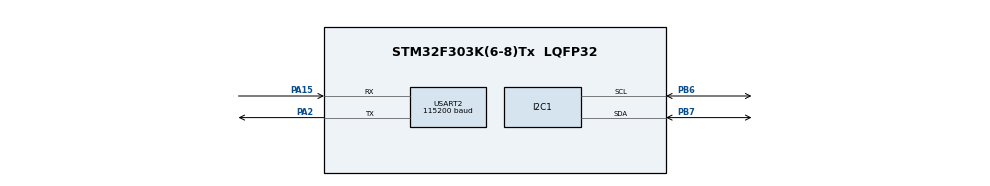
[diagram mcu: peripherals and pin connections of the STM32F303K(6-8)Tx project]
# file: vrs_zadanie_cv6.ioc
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Dma.Request0=USART2_RX
Dma.Request1=USART2_TX
Dma.USART2_RX.0.Direction=DMA_PERIPH_TO_MEMORY
Dma.USART2_RX.0.Instance=DMA1_Channel6
Dma.USART2_RX.0.MemDataAlignment=DMA_MDATAALIGN_BYTE
Dma.USART2_RX.0.MemInc=DMA_MINC_ENABLE
Dma.USART2_RX.0.Mode=DMA_CIRCULAR
Dma.USART2_RX.0.PeriphDataAlignment=DMA_PDATAALIGN_BYTE
Dma.USART2_RX.0.PeriphInc=DMA_PINC_DISABLE
Dma.USART2_RX.0.Priority=DMA_PRIORITY_LOW
Dma.USART2_TX.1.Direction=DMA_MEMORY_TO_PERIPH
Dma.USART2_TX.1.Instance=DMA1_Channel7
Dma.USART2_TX.1.MemDataAlignment=DMA_MDATAALIGN_BYTE
Dma.USART2_TX.1.MemInc=DMA_MINC_ENABLE
Dma.USART2_TX.1.Mode=DMA_NORMAL
Dma.USART2_TX.1.PeriphDataAlignment=DMA_PDATAALIGN_BYTE
Dma.USART2_TX.1.PeriphInc=DMA_PINC_DISABLE
Dma.USART2_TX.1.Priority=DMA_PRIORITY_LOW
I2C1.OwnAddress=1
Mcu.Family=STM32F3
Mcu.Name=STM32F303K(6-8)Tx
Mcu.Package=LQFP32
NVIC.DMA1_Channel6_IRQn=true\:0\:0\:false\:false\:true\:false\:true\:true
NVIC.DMA1_Channel7_IRQn=true\:0\:0\:false\:false\:true\:false\:true\:true
NVIC.I2C1_EV_IRQn=true\:0\:0\:false\:false\:true\:true\:true\:true
NVIC.PriorityGroup=NVIC_PRIORITYGROUP_4
NVIC.USART2_IRQn=true\:0\:0\:false\:false\:true\:true\:true\:true
PA15.Mode=Asynchronous
PA15.Signal=USART2_RX
PA2.Mode=Asynchronous
PA2.Signal=USART2_TX
PB6.Mode=I2C
PB6.Signal=I2C1_SCL
PB7.Mode=I2C
PB7.Signal=I2C1_SDA
ProjectManager.HeapSize=0x200
ProjectManager.StackSize=0x400
ProjectManager.TargetToolchain=STM32CubeIDE
RCC.AHBFreq_Value=8000000
RCC.APB1Freq_Value=8000000
RCC.APB2Freq_Value=8000000
RCC.CortexFreq_Value=8000000
RCC.HSE_VALUE=8000000
RCC.HSI_VALUE=8000000
RCC.SYSCLKFreq_VALUE=8000000
USART2.BaudRate=115200
USART2.VirtualMode-Asynchronous=VM_ASYNC
board=custom

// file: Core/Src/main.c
/* USER CODE BEGIN Header */
/**
  ******************************************************************************
  * @file           : main.c
  * @brief          : Main program body
  ******************************************************************************
  * @attention
  *
  * Copyright (c) 2023 STMicroelectronics.
  * All rights reserved.
  *
  * This software is licensed under terms that can be found in the LICENSE file
  * in the root directory of this software component.
  * If no LICENSE file comes with this software, it is provided AS-IS.
  *
  ******************************************************************************
  */
/* USER CODE END Header */
#include "main.h"
#include "dma.h"
#include "i2c.h"
#include "usart.h"
#include "gpio.h"

/* USER CODE BEGIN Includes */
#include "HTS221/hts221.h"
#include "LPS22HB/lps22hb.h"
#include <stdio.h>
#include <math.h>
/* USER CODE END Includes */

void SystemClock_Config(void);
/* USER CODE BEGIN PFP */
float height(float t, float h, float p);
/* USER CODE END PFP */

/* USER CODE BEGIN 0 */

// support printf
int __io_putchar (int ch)
{
  while (!LL_USART_IsActiveFlag_TXE(USART2));
  LL_USART_TransmitData8(USART2, (char)ch);
  return ch;
}

/* USER CODE END 0 */

int main(void)
{

  /* MCU Configuration--------------------------------------------------------*/

  /* Reset of all peripherals, Initializes the Flash interface and the Systick. */
  LL_APB2_GRP1_EnableClock(LL_APB2_GRP1_PERIPH_SYSCFG);
  LL_APB1_GRP1_EnableClock(LL_APB1_GRP1_PERIPH_PWR);

  /* System interrupt init*/
  NVIC_SetPriorityGrouping(NVIC_PRIORITYGROUP_4);

  /* SysTick_IRQn interrupt configuration */
  NVIC_SetPriority(SysTick_IRQn, NVIC_EncodePriority(NVIC_GetPriorityGrouping(),15, 0));

  /* Configure the system clock */
  SystemClock_Config();

  /* Initialize all configured peripherals */
  MX_GPIO_Init();
  MX_DMA_Init();
  MX_I2C1_Init();
  MX_USART2_UART_Init();

  /* USER CODE BEGIN 2 */

  struct hts221_init_config hts221_config;
  hts221_config.hts221_read_data  = i2c_read_data;
  hts221_config.hts221_write_data = i2c_write_data;
  hts221_config.hts221_read_byte  = i2c_read_byte;
  hts221_config.hts221_write_byte = i2c_write_byte;

  hts221_config.avconf = HTS221_AVGT16 | HTS221_AVGH32;
  hts221_config.ctrl1  = HTS221_CTRL1_POWER_UP              |
		                 HTS221_CTRL1_BDU_CONTINUOUS_UPDATE |
				         HTS221_CTRL1_OUTPUT_RATE_7HZ;
  hts221_config.ctrl2  = HTS221_CTRL2_BOOT_NORMAL    |
		                 HTS221_CTRL2_HEATER_DISABLE |
						 HTS221_CTRL2_ONESHOT_WAIT;
  hts221_config.ctrl3  = HTS221_CTRL3_DRDY_H   |
		                 HTS221_CTRL3_PUSHPULL |
						 HTS221_CTRL3_DRDY_DISABLE;

  int hts221_result = hts221_init(hts221_config);

  struct lps22hb_init_config lps22hb_config;
  lps22hb_config.lps22hb_read_data  = i2c_read_data;
  lps22hb_config.lps22hb_write_data = i2c_write_data;
  lps22hb_config.lps22hb_read_byte  = i2c_read_byte;
  lps22hb_config.lps22hb_write_byte = i2c_write_byte;

  lps22hb_config.interrupt_cfg = 0;
  lps22hb_config.ths_p         = 0;
  lps22hb_config.ctrl1         = LPS22HB_CTRL1_ODR_10HZ              |
                                 LPS22HB_CTRL1_LPFP_DISABLE          |
								 LPS22HB_CTRL1_LPFP_CFG_DISABLE      |
								 LPS22HB_CTRL1_BDU_CONTINUOUS_UPDATE |
								 LPS22HB_CTRL1_SPI_4WIRE;
  lps22hb_config.ctrl2         = LPS22HB_CTRL2_BOOT_NORMAL            |
                                 LPS22HB_CTRL2_FIFO_DISABLE           |
								 LPS22HB_CTRL2_FIFO_WATERMARK_DISABLE |
								 LPS22HB_CTRL2_FIFO_ADD_INC_ENABLE    |
								 LPS22HB_CTRL2_I2C_ENABLE             |
								 LPS22HB_CTRL2_SWRESET_NORMAL         |
								 LPS22HB_CTRL2_ONESHOT_IDLE;
  lps22hb_config.ctrl3         = 0;
  lps22hb_config.fifo_ctrl     = 0;
  lps22hb_config.ref_p         = 0;
  lps22hb_config.rpds          = 0;
  lps22hb_config.res_conf      = 0;

  int lps22hb_result = lps22hb_init(lps22hb_config);

  i2c_write_byte(LPS22HB_DEVICE, 0x10U, 0x20);
  i2c_write_byte(LPS22HB_DEVICE, 0x14U, 0x40);

  /* USER CODE END 2 */

  /* Infinite loop */
  /* USER CODE BEGIN WHILE */
  while (1)
  {
	  if (hts221_result != HTS221_ERROR_NONE)
		  printf("error: hts221_init! code: %i\n\r", hts221_result);

	  if (lps22hb_result != HTS221_ERROR_NONE)
		  printf("error: lps22hb_init! code: %i\n\r", lps22hb_result);

	  float temp = hts221_temperature();
	  float humidity = hts221_humidity();

	  //if (i2c_read_byte(LPS22HB_DEVICE, LPS22HB_WHO_AM_I) == LPS22HB_WHO_AM_I_VALUE)
	//	  printf("OK: %i (%i)\n\r", i2c_read_byte(LPS22HB_DEVICE, 0x10U), 0x20);
	 // else
	//	  printf("NOT OK\n\r");

	  uint8_t press_out_xl = i2c_read_byte(LPS22HB_DEVICE, 0x28U);
	  uint8_t press_out_l  = i2c_read_byte(LPS22HB_DEVICE, 0x29U);
	  uint8_t press_out_h  = i2c_read_byte(LPS22HB_DEVICE, 0x2AU);
	  uint32_t press = (press_out_h << 16) | (press_out_l << 8) | press_out_xl;
	  //press /= 4096;

	  //printf("pressure: %li (%li): %i %i %i\n\r", press, press / 4096, press_out_xl, press_out_l, press_out_h);
	  printf("teplota [°C]: %2.1f rel. vlhkosť [%%]: %2.0f tlak vzduchu [hPa]: %4.2f relatívna výška od zeme [m]: %3.2f\n\r",
			  temp, humidity, (float)press / 4096.0f, height(temp, humidity, (float)press / 4096.0f));

	  LL_mDelay(100);

    /* USER CODE END WHILE */

  }
}

void SystemClock_Config(void)
{
  LL_FLASH_SetLatency(LL_FLASH_LATENCY_0);
  while(LL_FLASH_GetLatency()!= LL_FLASH_LATENCY_0)
  {
  }
  LL_RCC_HSI_Enable();

   /* Wait till HSI is ready */
  while(LL_RCC_HSI_IsReady() != 1)
  {

  }
  LL_RCC_HSI_SetCalibTrimming(16);
  LL_RCC_SetAHBPrescaler(LL_RCC_SYSCLK_DIV_1);
  LL_RCC_SetAPB1Prescaler(LL_RCC_APB1_DIV_1);
  LL_RCC_SetAPB2Prescaler(LL_RCC_APB2_DIV_1);
  LL_RCC_SetSysClkSource(LL_RCC_SYS_CLKSOURCE_HSI);

   /* Wait till System clock is ready */
  while(LL_RCC_GetSysClkSource() != LL_RCC_SYS_CLKSOURCE_STATUS_HSI)
  {

  }
  LL_Init1msTick(8000000);
  LL_SetSystemCoreClock(8000000);
  LL_RCC_SetI2CClockSource(LL_RCC_I2C1_CLKSOURCE_HSI);
}

/* USER CODE BEGIN 4 */

float height(float t, float h, float p)
{
	//https://en.wikipedia.org/wiki/Atmospheric_pressure

	float p0 = 101325;      // Sea level standard atmospheric pressure 101,325 Pa
	float L	 = 0.00976;     // Temperature lapse rate, = g/cp for dry air ~ 0.00976 K/m
	float cp = 1004.68506;  // Constant-pressure specific heat 1,004.68506 J/(kg·K)
	float T0 = 288.16;      // Sea level standard temperature 288.16 K
	float g  = 9.80665;     // Earth-surface gravitational acceleration 9.80665 m/s2
	float M	 = 0.02896968;  // Molar mass of dry air 0.02896968 kg/mol
	float R0 = 8.314462618; // Universal gas constant 8.314462618 J/(mol·K)

	T0 = t + 273.15;

	// Height above mean sea level m
	return (-T0 * (pow((p * 100)/p0, (L * R0) / (g * M)) - 1)) / L;
}

/* USER CODE END 4 */

void Error_Handler(void)
{
  __disable_irq();
  while (1)
  {
  }
}
